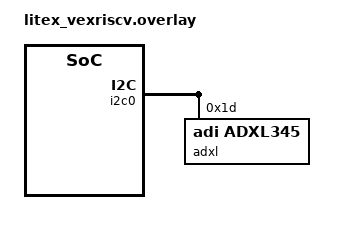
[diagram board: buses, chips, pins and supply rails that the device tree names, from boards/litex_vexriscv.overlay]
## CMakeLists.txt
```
cmake_minimum_required(VERSION 3.28.0)

find_package(Zephyr REQUIRED HINTS $ENV{ZEPHYR_BASE})
project(tensorflow_magic_wand)

# These samples use local static initialization. Since Zephyr doesn't support the
# C++ ABI for thread-safe initialization of local statics and the constructors don't
# appear to require thread safety, we turn it off in the C++ compiler.
set(NO_THREADSAFE_STATICS $<TARGET_PROPERTY:compiler-cpp,no_threadsafe_statics>)
zephyr_compile_options($<$<COMPILE_LANGUAGE:CXX>:${NO_THREADSAFE_STATICS}>)

file(GLOB app_sources src/*)
target_sources(app PRIVATE ${app_sources})
```

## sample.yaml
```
sample:
  description: Magic Wand TensorFlow sample
  name: magic wand tensorflow
tests:
  sample.tensorflow.magicwand:
    platform_allow: litex_vexriscv/litex_vexriscv
    build_only: true
    tags: tensorflow
    integration_platforms:
      - litex_vexriscv/litex_vexriscv
    modules:
      - tflite-micro
```

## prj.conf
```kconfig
# Copyright 2019 The TensorFlow Authors. All Rights Reserved.
#
# Licensed under the Apache License, Version 2.0 (the "License");
# you may not use this file except in compliance with the License.
# You may obtain a copy of the License at
#
#    http://www.apache.org/licenses/LICENSE-2.0
#
# Unless required by applicable law or agreed to in writing, software
# distributed under the License is distributed on an "AS IS" BASIS,
# WITHOUT WARRANTIES OR CONDITIONS OF ANY KIND, either express or implied.
# See the License for the specific language governing permissions and
# limitations under the License.
# ==============================================================================
CONFIG_CPP=y
CONFIG_STD_CPP17=y
CONFIG_REQUIRES_FLOAT_PRINTF=y
CONFIG_SENSOR=y
CONFIG_NETWORKING=n
CONFIG_MAIN_STACK_SIZE=4096
CONFIG_TENSORFLOW_LITE_MICRO=y
```

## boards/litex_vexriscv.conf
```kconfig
# Copyright 2019 The TensorFlow Authors. All Rights Reserved.
#
# Licensed under the Apache License, Version 2.0 (the "License");
# you may not use this file except in compliance with the License.
# You may obtain a copy of the License at
#
#    http://www.apache.org/licenses/LICENSE-2.0
#
# Unless required by applicable law or agreed to in writing, software
# distributed under the License is distributed on an "AS IS" BASIS,
# WITHOUT WARRANTIES OR CONDITIONS OF ANY KIND, either express or implied.
# See the License for the specific language governing permissions and
# limitations under the License.
# ==============================================================================
CONFIG_PWM=n
CONFIG_PWM_LITEX=n
CONFIG_I2C=y
```

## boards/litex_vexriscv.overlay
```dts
/* Copyright 2019 The TensorFlow Authors. All Rights Reserved.

 * Licensed under the Apache License, Version 2.0 (the "License");
 * you may not use this file except in compliance with the License.
 * You may obtain a copy of the License at

 * http://www.apache.org/licenses/LICENSE-2.0

 * Unless required by applicable law or agreed to in writing, software
 * distributed under the License is distributed on an "AS IS" BASIS,
 * WITHOUT WARRANTIES OR CONDITIONS OF ANY KIND, either express or implied.
 * See the License for the specific language governing permissions and
 * limitations under the License.
 * ==============================================================================
 */

&i2c0 {
	reg = <0xe0003000 0x4 0xe0003004 0x4>;

	adxl@1d {
		compatible = "adi,adxl345";
		reg = <0x1d>;
	};
};

&pwm0 {
	status = "disabled";
};

&eth0 {
	status = "disabled";
};

&prbs0 {
	status = "disabled";
};
```

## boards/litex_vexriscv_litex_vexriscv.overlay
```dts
/* Copyright 2019 The TensorFlow Authors. All Rights Reserved.

Licensed under the Apache License, Version 2.0 (the "License");
you may not use this file except in compliance with the License.
You may obtain a copy of the License at

    http://www.apache.org/licenses/LICENSE-2.0

Unless required by applicable law or agreed to in writing, software
distributed under the License is distributed on an "AS IS" BASIS,
WITHOUT WARRANTIES OR CONDITIONS OF ANY KIND, either express or implied.
See the License for the specific language governing permissions and
limitations under the License.
==============================================================================*/

&i2c0 {
	reg = <0xe0003000 0x4 0xe0003004 0x4>;

	adxl@1d {
		compatible = "adi,adxl345";
		reg = <0x1d>;
	};

};

&pwm0 {
	status = "disabled";
};

&eth0 {
	status = "disabled";
};

&prbs0 {
	status = "disabled";
};
```

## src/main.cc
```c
/*
 * Copyright 2019 The TensorFlow Authors. All Rights Reserved.
 *
 * Licensed under the Apache License, Version 2.0 (the "License");
 * you may not use this file except in compliance with the License.
 * You may obtain a copy of the License at
 *
 *     http://www.apache.org/licenses/LICENSE-2.0
 *
 * Unless required by applicable law or agreed to in writing, software
 * distributed under the License is distributed on an "AS IS" BASIS,
 * WITHOUT WARRANTIES OR CONDITIONS OF ANY KIND, either express or implied.
 * See the License for the specific language governing permissions and
 * limitations under the License.
 */

#include "main_functions.h"

/* This is the default main used on systems that have the standard C entry
 * point. Other devices (for example FreeRTOS or ESP32) that have different
 * requirements for entry code (like an app_main function) should specialize
 * this main.cc file in a target-specific subfolder.
 */
int main(int argc, char *argv[])
{
	setup();
	while (true) {
		loop();
	}
}
```

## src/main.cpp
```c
/*
 * Copyright 2019 The TensorFlow Authors. All Rights Reserved.
 *
 * Licensed under the Apache License, Version 2.0 (the "License");
 * you may not use this file except in compliance with the License.
 * You may obtain a copy of the License at
 *
 *     http://www.apache.org/licenses/LICENSE-2.0
 *
 * Unless required by applicable law or agreed to in writing, software
 * distributed under the License is distributed on an "AS IS" BASIS,
 * WITHOUT WARRANTIES OR CONDITIONS OF ANY KIND, either express or implied.
 * See the License for the specific language governing permissions and
 * limitations under the License.
 */

#include "main_functions.hpp"

/* This is the default main used on systems that have the standard C entry
 * point. Other devices (for example FreeRTOS or ESP32) that have different
 * requirements for entry code (like an app_main function) should specialize
 * this main.cc file in a target-specific subfolder.
 */
int main(int argc, char *argv[])
{
	setup();
	while (true) {
		loop();
	}
}
```

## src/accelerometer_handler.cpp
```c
/*
 * Copyright 2019 The TensorFlow Authors. All Rights Reserved.
 *
 * Licensed under the Apache License, Version 2.0 (the "License");
 * you may not use this file except in compliance with the License.
 * You may obtain a copy of the License at
 *
 *     http://www.apache.org/licenses/LICENSE-2.0
 *
 * Unless required by applicable law or agreed to in writing, software
 * distributed under the License is distributed on an "AS IS" BASIS,
 * WITHOUT WARRANTIES OR CONDITIONS OF ANY KIND, either express or implied.
 * See the License for the specific language governing permissions and
 * limitations under the License.
 */

#include "accelerometer_handler.hpp"

#include <zephyr/device.h>
#include <zephyr/drivers/sensor.h>
#include <stdio.h>
#include <string.h>
#include <zephyr/kernel.h>

#define BUFLEN 300
int begin_index = 0;
const struct device *const sensor = DEVICE_DT_GET_ONE(adi_adxl345);
int current_index = 0;

float bufx[BUFLEN] = { 0.0f };
float bufy[BUFLEN] = { 0.0f };
float bufz[BUFLEN] = { 0.0f };

bool initial = true;

TfLiteStatus SetupAccelerometer()
{
	if (!device_is_ready(sensor)) {
		printk("%s: device not ready.\n", sensor->name);
		return kTfLiteApplicationError;
	}

	MicroPrintf("Got accelerometer, name: %s\n", sensor->name);

	return kTfLiteOk;
}

bool ReadAccelerometer(float *input, int length)
{
	int rc;
	struct sensor_value accel[3];
	int samples_count;

	rc = sensor_sample_fetch(sensor);
	if (rc < 0) {
		MicroPrintf("Fetch failed\n");
		return false;
	}
	/* Skip if there is no data */
	if (!rc) {
		return false;
	}

	samples_count = rc;
	for (int i = 0; i < samples_count; i++) {
		rc = sensor_channel_get(sensor, SENSOR_CHAN_ACCEL_XYZ, accel);
		if (rc < 0) {
			MicroPrintf("ERROR: Update failed: %d\n", rc);
			return false;
		}
		bufx[begin_index] = (float)sensor_value_to_double(&accel[0]);
		bufy[begin_index] = (float)sensor_value_to_double(&accel[1]);
		bufz[begin_index] = (float)sensor_value_to_double(&accel[2]);
		begin_index++;
		if (begin_index >= BUFLEN) {
			begin_index = 0;
		}
	}

	if (initial && begin_index >= 100) {
		initial = false;
	}

	if (initial) {
		return false;
	}

	int sample = 0;
	for (int i = 0; i < (length - 3); i += 3) {
		int ring_index = begin_index + sample - length / 3;
		if (ring_index < 0) {
			ring_index += BUFLEN;
		}
		input[i] = bufx[ring_index];
		input[i + 1] = bufy[ring_index];
		input[i + 2] = bufz[ring_index];
		sample++;
	}
	return true;
}
```

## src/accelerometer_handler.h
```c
/*
 * Copyright 2019 The TensorFlow Authors. All Rights Reserved.
 *
 * Licensed under the Apache License, Version 2.0 (the "License");
 * you may not use this file except in compliance with the License.
 * You may obtain a copy of the License at
 *
 *     http://www.apache.org/licenses/LICENSE-2.0
 *
 * Unless required by applicable law or agreed to in writing, software
 * distributed under the License is distributed on an "AS IS" BASIS,
 * WITHOUT WARRANTIES OR CONDITIONS OF ANY KIND, either express or implied.
 * See the License for the specific language governing permissions and
 * limitations under the License.
 */

#ifndef TENSORFLOW_LITE_MICRO_EXAMPLES_MAGIC_WAND_ACCELEROMETER_HANDLER_H_
#define TENSORFLOW_LITE_MICRO_EXAMPLES_MAGIC_WAND_ACCELEROMETER_HANDLER_H_

#define kChannelNumber 3

#include <tensorflow/lite/c/c_api_types.h>
#include <tensorflow/lite/micro/micro_error_reporter.h>

extern int begin_index;
extern TfLiteStatus SetupAccelerometer(tflite::ErrorReporter *error_reporter);
extern bool ReadAccelerometer(tflite::ErrorReporter *error_reporter,
			      float *input, int length);

#endif /* TENSORFLOW_LITE_MICRO_EXAMPLES_MAGIC_WAND_ACCELEROMETER_HANDLER_H_ */
```

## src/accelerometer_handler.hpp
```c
/*
 * Copyright 2019 The TensorFlow Authors. All Rights Reserved.
 *
 * Licensed under the Apache License, Version 2.0 (the "License");
 * you may not use this file except in compliance with the License.
 * You may obtain a copy of the License at
 *
 *     http://www.apache.org/licenses/LICENSE-2.0
 *
 * Unless required by applicable law or agreed to in writing, software
 * distributed under the License is distributed on an "AS IS" BASIS,
 * WITHOUT WARRANTIES OR CONDITIONS OF ANY KIND, either express or implied.
 * See the License for the specific language governing permissions and
 * limitations under the License.
 */

#ifndef TENSORFLOW_LITE_MICRO_EXAMPLES_MAGIC_WAND_ACCELEROMETER_HANDLER_H_
#define TENSORFLOW_LITE_MICRO_EXAMPLES_MAGIC_WAND_ACCELEROMETER_HANDLER_H_

#define kChannelNumber 3

#include <tensorflow/lite/c/c_api_types.h>
#include <tensorflow/lite/micro/micro_log.h>

extern int begin_index;
extern TfLiteStatus SetupAccelerometer();
extern bool ReadAccelerometer(float *input, int length);

#endif /* TENSORFLOW_LITE_MICRO_EXAMPLES_MAGIC_WAND_ACCELEROMETER_HANDLER_H_ */
```

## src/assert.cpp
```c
/*
 * Copyright 2019 The TensorFlow Authors. All Rights Reserved.
 *
 * Licensed under the Apache License, Version 2.0 (the "License");
 * you may not use this file except in compliance with the License.
 * You may obtain a copy of the License at
 *
 *     http://www.apache.org/licenses/LICENSE-2.0
 *
 * Unless required by applicable law or agreed to in writing, software
 * distributed under the License is distributed on an "AS IS" BASIS,
 * WITHOUT WARRANTIES OR CONDITIONS OF ANY KIND, either express or implied.
 * See the License for the specific language governing permissions and
 * limitations under the License.
 */

extern "C" {

void __assert_func(const char *, int, const char *, const char *)
{
}

}
```

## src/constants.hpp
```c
/*
 * Copyright 2019 The TensorFlow Authors. All Rights Reserved.
 *
 * Licensed under the Apache License, Version 2.0 (the "License");
 * you may not use this file except in compliance with the License.
 * You may obtain a copy of the License at
 *
 *     http://www.apache.org/licenses/LICENSE-2.0
 *
 * Unless required by applicable law or agreed to in writing, software
 * distributed under the License is distributed on an "AS IS" BASIS,
 * WITHOUT WARRANTIES OR CONDITIONS OF ANY KIND, either express or implied.
 * See the License for the specific language governing permissions and
 * limitations under the License.
 */

#ifndef TENSORFLOW_LITE_MICRO_EXAMPLES_MAGIC_WAND_CONSTANTS_H_
#define TENSORFLOW_LITE_MICRO_EXAMPLES_MAGIC_WAND_CONSTANTS_H_

/* The expected accelerometer data sample frequency */
const float kTargetHz = 25;

/* What gestures are supported. */
constexpr int kGestureCount = 4;
constexpr int kWingGesture = 0;
constexpr int kRingGesture = 1;
constexpr int kSlopeGesture = 2;
constexpr int kNoGesture = 3;

/* These control the sensitivity of the detection algorithm. If you're seeing
 * too many false positives or not enough true positives, you can try tweaking
 * these thresholds. Often, increasing the size of the training set will give
 * more robust results though, so consider retraining if you are seeing poor
 * predictions.
 */
constexpr float kDetectionThreshold = 0.8f;
constexpr int kPredictionHistoryLength = 5;
constexpr int kPredictionSuppressionDuration = 25;

#endif /* TENSORFLOW_LITE_MICRO_EXAMPLES_MAGIC_WAND_CONSTANTS_H_ */
```

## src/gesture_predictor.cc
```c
/*
 * Copyright 2019 The TensorFlow Authors. All Rights Reserved.
 *
 * Licensed under the Apache License, Version 2.0 (the "License");
 * you may not use this file except in compliance with the License.
 * You may obtain a copy of the License at
 *
 *     http://www.apache.org/licenses/LICENSE-2.0
 *
 * Unless required by applicable law or agreed to in writing, software
 * distributed under the License is distributed on an "AS IS" BASIS,
 * WITHOUT WARRANTIES OR CONDITIONS OF ANY KIND, either express or implied.
 * See the License for the specific language governing permissions and
 * limitations under the License.
 */

#include "gesture_predictor.h"

#include "constants.h"

namespace {
	/* State for the averaging algorithm we're using. */
	float prediction_history[kGestureCount][kPredictionHistoryLength] = {};
	int prediction_history_index = 0;
	int prediction_suppression_count = 0;
} /* namespace */

/* Return the result of the last prediction
 * 0: wing("W"), 1: ring("O"), 2: slope("angle"), 3: unknown
 */
int PredictGesture(float *output)
{
	/* Record the latest predictions in our rolling history buffer. */
	for (int i = 0; i < kGestureCount; ++i) {
		prediction_history[i][prediction_history_index] = output[i];
	}
	/* Figure out which slot to put the next predictions into. */
	++prediction_history_index;
	if (prediction_history_index >= kPredictionHistoryLength) {
		prediction_history_index = 0;
	}

	/* Average the last n predictions for each gesture, and find which has the
	 * highest score.
	 */
	int max_predict_index = -1;
	float max_predict_score = 0.0f;
	for (int i = 0; i < kGestureCount; i++) {
		float prediction_sum = 0.0f;
		for (int j = 0; j < kPredictionHistoryLength; ++j) {
			prediction_sum += prediction_history[i][j];
		}
		const float prediction_average = prediction_sum / kPredictionHistoryLength;
		if ((max_predict_index == -1) || (prediction_average > max_predict_score)) {
			max_predict_index = i;
			max_predict_score = prediction_average;
		}
	}

	/* If there's been a recent prediction, don't trigger a new one too soon. */
	if (prediction_suppression_count > 0) {
		--prediction_suppression_count;
	}
	/* If we're predicting no gesture, or the average score is too low, or there's
	 * been a gesture recognised too recently, return no gesture.
	 */
	if ((max_predict_index == kNoGesture) ||
	    (max_predict_score < kDetectionThreshold) ||
	    (prediction_suppression_count > 0)) {
		return kNoGesture;
	} else {
		/* Reset the suppression counter so we don't come up with another prediction
		 * too soon.
		 */
		prediction_suppression_count = kPredictionSuppressionDuration;
		return max_predict_index;
	}
}
```

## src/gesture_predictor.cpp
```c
/*
 * Copyright 2019 The TensorFlow Authors. All Rights Reserved.
 *
 * Licensed under the Apache License, Version 2.0 (the "License");
 * you may not use this file except in compliance with the License.
 * You may obtain a copy of the License at
 *
 *     http://www.apache.org/licenses/LICENSE-2.0
 *
 * Unless required by applicable law or agreed to in writing, software
 * distributed under the License is distributed on an "AS IS" BASIS,
 * WITHOUT WARRANTIES OR CONDITIONS OF ANY KIND, either express or implied.
 * See the License for the specific language governing permissions and
 * limitations under the License.
 */

#include "gesture_predictor.hpp"

#include "constants.hpp"

namespace {
	/* State for the averaging algorithm we're using. */
	float prediction_history[kGestureCount][kPredictionHistoryLength] = {};
	int prediction_history_index = 0;
	int prediction_suppression_count = 0;
} /* namespace */

/* Return the result of the last prediction
 * 0: wing("W"), 1: ring("O"), 2: slope("angle"), 3: unknown
 */
int PredictGesture(float *output)
{
	/* Record the latest predictions in our rolling history buffer. */
	for (int i = 0; i < kGestureCount; ++i) {
		prediction_history[i][prediction_history_index] = output[i];
	}
	/* Figure out which slot to put the next predictions into. */
	++prediction_history_index;
	if (prediction_history_index >= kPredictionHistoryLength) {
		prediction_history_index = 0;
	}

	/* Average the last n predictions for each gesture, and find which has the
	 * highest score.
	 */
	int max_predict_index = -1;
	float max_predict_score = 0.0f;
	for (int i = 0; i < kGestureCount; i++) {
		float prediction_sum = 0.0f;
		for (int j = 0; j < kPredictionHistoryLength; ++j) {
			prediction_sum += prediction_history[i][j];
		}
		const float prediction_average = prediction_sum / kPredictionHistoryLength;
		if ((max_predict_index == -1) || (prediction_average > max_predict_score)) {
			max_predict_index = i;
			max_predict_score = prediction_average;
		}
	}

	/* If there's been a recent prediction, don't trigger a new one too soon. */
	if (prediction_suppression_count > 0) {
		--prediction_suppression_count;
	}
	/* If we're predicting no gesture, or the average score is too low, or there's
	 * been a gesture recognised too recently, return no gesture.
	 */
	if ((max_predict_index == kNoGesture) ||
	    (max_predict_score < kDetectionThreshold) ||
	    (prediction_suppression_count > 0)) {
		return kNoGesture;
	} else {
		/* Reset the suppression counter so we don't come up with another prediction
		 * too soon.
		 */
		prediction_suppression_count = kPredictionSuppressionDuration;
		return max_predict_index;
	}
}
```

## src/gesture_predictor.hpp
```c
/*
 * Copyright 2019 The TensorFlow Authors. All Rights Reserved.
 *
 * Licensed under the Apache License, Version 2.0 (the "License");
 * you may not use this file except in compliance with the License.
 * You may obtain a copy of the License at
 *
 *     http://www.apache.org/licenses/LICENSE-2.0
 *
 * Unless required by applicable law or agreed to in writing, software
 * distributed under the License is distributed on an "AS IS" BASIS,
 * WITHOUT WARRANTIES OR CONDITIONS OF ANY KIND, either express or implied.
 * See the License for the specific language governing permissions and
 * limitations under the License.
 */

#ifndef TENSORFLOW_LITE_MICRO_EXAMPLES_MAGIC_WAND_GESTURE_PREDICTOR_H_
#define TENSORFLOW_LITE_MICRO_EXAMPLES_MAGIC_WAND_GESTURE_PREDICTOR_H_

extern int PredictGesture(float *output);

#endif /* TENSORFLOW_LITE_MICRO_EXAMPLES_MAGIC_WAND_GESTURE_PREDICTOR_H_ */
```

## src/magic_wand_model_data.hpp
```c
/*
 * Copyright 2019 The TensorFlow Authors. All Rights Reserved.
 *
 * Licensed under the Apache License, Version 2.0 (the "License");
 * you may not use this file except in compliance with the License.
 * You may obtain a copy of the License at
 *
 *     http://www.apache.org/licenses/LICENSE-2.0
 *
 * Unless required by applicable law or agreed to in writing, software
 * distributed under the License is distributed on an "AS IS" BASIS,
 * WITHOUT WARRANTIES OR CONDITIONS OF ANY KIND, either express or implied.
 * See the License for the specific language governing permissions and
 * limitations under the License.
 */

/* This is a standard TensorFlow Lite model file that has been converted into a
 * C data array, so it can be easily compiled into a binary for devices that
 * don't have a file system. It was created using the command:
 * xxd -i magic_wand_model.tflite > magic_wand_model_data.cc
 */

#ifndef TENSORFLOW_LITE_MICRO_EXAMPLES_MAGIC_WAND_MAGIC_WAND_MODEL_DATA_H_
#define TENSORFLOW_LITE_MICRO_EXAMPLES_MAGIC_WAND_MAGIC_WAND_MODEL_DATA_H_

extern const unsigned char g_magic_wand_model_data[];
extern const int g_magic_wand_model_data_len;

#endif /* TENSORFLOW_LITE_MICRO_EXAMPLES_MAGIC_WAND_MAGIC_WAND_MODEL_DATA_H_ */
```

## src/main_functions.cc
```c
/*
 * Copyright 2019 The TensorFlow Authors. All Rights Reserved.
 *
 * Licensed under the Apache License, Version 2.0 (the "License");
 * you may not use this file except in compliance with the License.
 * You may obtain a copy of the License at
 *
 *     http://www.apache.org/licenses/LICENSE-2.0
 *
 * Unless required by applicable law or agreed to in writing, software
 * distributed under the License is distributed on an "AS IS" BASIS,
 * WITHOUT WARRANTIES OR CONDITIONS OF ANY KIND, either express or implied.
 * See the License for the specific language governing permissions and
 * limitations under the License.
 */

#include "main_functions.h"

#include "accelerometer_handler.h"
#include "constants.h"
#include "gesture_predictor.h"
#include "magic_wand_model_data.h"
#include "output_handler.h"
#include <tensorflow/lite/micro/micro_error_reporter.h>
#include <tensorflow/lite/micro/micro_interpreter.h>
#include <tensorflow/lite/micro/micro_mutable_op_resolver.h>
#include <tensorflow/lite/schema/schema_generated.h>

/* Globals, used for compatibility with Arduino-style sketches. */
namespace {
	tflite::ErrorReporter *error_reporter = nullptr;
	const tflite::Model *model = nullptr;
	tflite::MicroInterpreter *interpreter = nullptr;
	TfLiteTensor *model_input = nullptr;
	int input_length;

	/* Create an area of memory to use for input, output, and intermediate arrays.
	* The size of this will depend on the model you're using, and may need to be
	* determined by experimentation.
	*/
	constexpr int kTensorArenaSize = 60 * 1024;
	uint8_t tensor_arena[kTensorArenaSize];
} /* namespace */

/* The name of this function is important for Arduino compatibility. */
void setup(void)
{
	/* Set up logging. Google style is to avoid globals or statics because of
	 * lifetime uncertainty, but since this has a trivial destructor it's okay.
	 */
	static tflite::MicroErrorReporter micro_error_reporter; /* NOLINT */

	error_reporter = &micro_error_reporter;

	/* Map the model into a usable data structure. This doesn't involve any
	 * copying or parsing, it's a very lightweight operation.
	 */
	model = tflite::GetModel(g_magic_wand_model_data);
	if (model->version() != TFLITE_SCHEMA_VERSION) {
		TF_LITE_REPORT_ERROR(error_reporter,
				     "Model provided is schema version %d not equal "
				     "to supported version %d.",
				     model->version(), TFLITE_SCHEMA_VERSION);
		return;
	}

	/* Pull in only the operation implementations we need.
	 * This relies on a complete list of all the ops needed by this graph.
	 * An easier approach is to just use the AllOpsResolver, but this will
	 * incur some penalty in code space for op implementations that are not
	 * needed by this graph.
	 */
	static tflite::MicroMutableOpResolver < 5 > micro_op_resolver; /* NOLINT */
	micro_op_resolver.AddConv2D();
	micro_op_resolver.AddDepthwiseConv2D();
	micro_op_resolver.AddFullyConnected();
	micro_op_resolver.AddMaxPool2D();
	micro_op_resolver.AddSoftmax();

	/* Build an interpreter to run the model with. */
	static tflite::MicroInterpreter static_interpreter(
		model, micro_op_resolver, tensor_arena, kTensorArenaSize, error_reporter);
	interpreter = &static_interpreter;

	/* Allocate memory from the tensor_arena for the model's tensors. */
	interpreter->AllocateTensors();

	/* Obtain pointer to the model's input tensor. */
	model_input = interpreter->input(0);
	if ((model_input->dims->size != 4) || (model_input->dims->data[0] != 1) ||
	    (model_input->dims->data[1] != 128) ||
	    (model_input->dims->data[2] != kChannelNumber) ||
	    (model_input->type != kTfLiteFloat32)) {
		TF_LITE_REPORT_ERROR(error_reporter,
				     "Bad input tensor parameters in model");
		return;
	}

	input_length = model_input->bytes / sizeof(float);

	TfLiteStatus setup_status = SetupAccelerometer(error_reporter);
	if (setup_status != kTfLiteOk) {
		TF_LITE_REPORT_ERROR(error_reporter, "Set up failed\n");
	}
}

void loop(void)
{
	/* Attempt to read new data from the accelerometer. */
	bool got_data =
		ReadAccelerometer(error_reporter, model_input->data.f, input_length);

	/* If there was no new data, wait until next time. */
	if (!got_data) {
		return;
	}

	/* Run inference, and report any error */
	TfLiteStatus invoke_status = interpreter->Invoke();
	if (invoke_status != kTfLiteOk) {
		TF_LITE_REPORT_ERROR(error_reporter, "Invoke failed on index: %d\n",
				     begin_index);
		return;
	}
	/* Analyze the results to obtain a prediction */
	int gesture_index = PredictGesture(interpreter->output(0)->data.f);

	/* Produce an output */
	HandleOutput(error_reporter, gesture_index);
}
```
